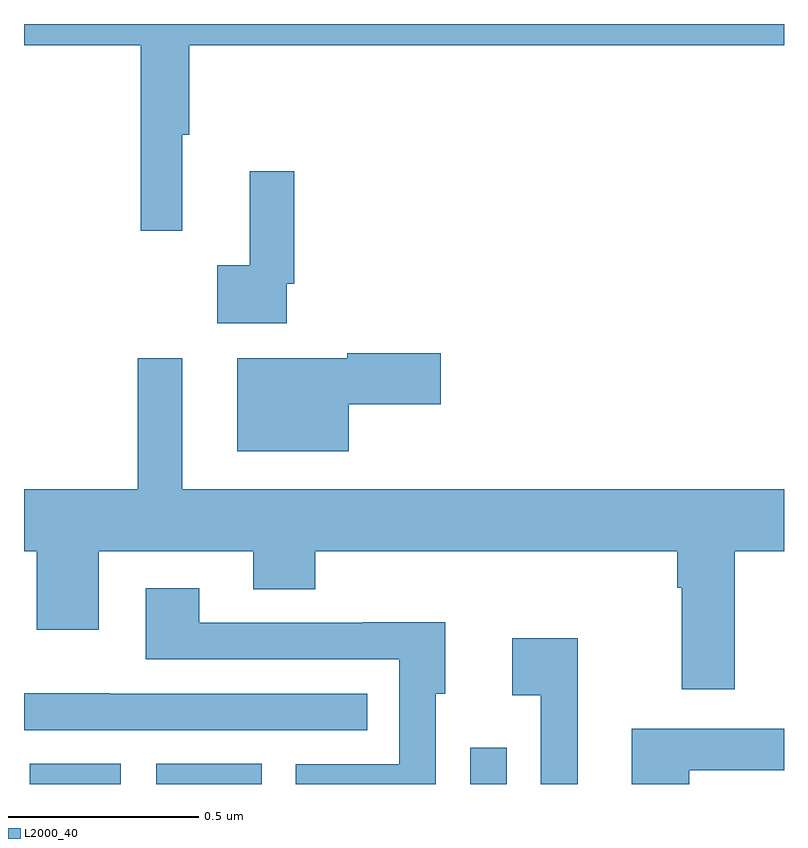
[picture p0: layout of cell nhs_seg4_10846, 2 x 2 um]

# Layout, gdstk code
import gdstk
lib = gdstk.Library(unit=1e-6, precision=1e-09)
def R(c, l, rs):  # rectangles x0, y0, x1, y1
    for r in rs: c.add(gdstk.rectangle(r[:2], r[2:], *l))
def P(c, l, *ps):  # polygons
    for p in ps: c.add(gdstk.Polygon(p, *l))
L2000_40 = (2000, 40)

nhs_seg4_10846 = lib.new_cell('nhs_seg4_10846')
R(nhs_seg4_10846, L2000_40, [(245.015,770.9,245.254,770.953), (245.348,770.9,245.626,770.953), (246.174,770.9,246.27,770.995)])
P(nhs_seg4_10846, L2000_40, [(247,772.9),(245,772.9),(245,772.844),(245.307,772.844),(245.307,772.356),(245.417,772.356),(245.417,772.608),(245.435,772.608),(245.435,772.844),(247,772.844)],
  [(245.691,772.216),(245.711,772.216),(245.711,772.513),(245.594,772.513),(245.594,772.265),(245.508,772.265),(245.508,772.112),(245.691,772.112)],
  [(245.854,771.899),(246.097,771.899),(246.097,772.034),(245.85,772.034),(245.85,772.021),(245.561,772.021),(245.561,771.776),(245.854,771.776)],
  [(246.871,771.512),(247,771.512),(247,771.676),(245.416,771.676),(245.416,772.021),(245.299,772.021),(245.299,771.676),(245,771.676),(245,771.512),(245.033,771.512),(245.033,771.306),(245.197,771.306),(245.197,771.512),(245.603,771.512),(245.603,771.413),(245.767,771.413),(245.767,771.512),(246.719,771.512),(246.719,771.416),(246.731,771.416),(246.731,771.15),(246.871,771.15)],
  [(246.084,771.138),(246.109,771.138),(246.109,771.326),(245.891,771.326),(245.891,771.324),(245.461,771.324),(245.461,771.415),(245.321,771.415),(245.321,771.228),(245.988,771.228),(245.988,770.952),(245.715,770.952),(245.715,770.9),(246.084,770.9)],
  [(246.457,771.283),(246.285,771.283),(246.285,771.134),(246.36,771.134),(246.36,770.9),(246.457,770.9)],
  [(245.903,771.138),(245.225,771.138),(245.225,771.139),(245,771.139),(245,771.042),(245.903,771.042)],
  [(246.751,770.936),(247,770.936),(247,771.046),(246.599,771.046),(246.599,770.9),(246.751,770.9)])

lib.write_gds('nhs_seg4_10846.gds')
